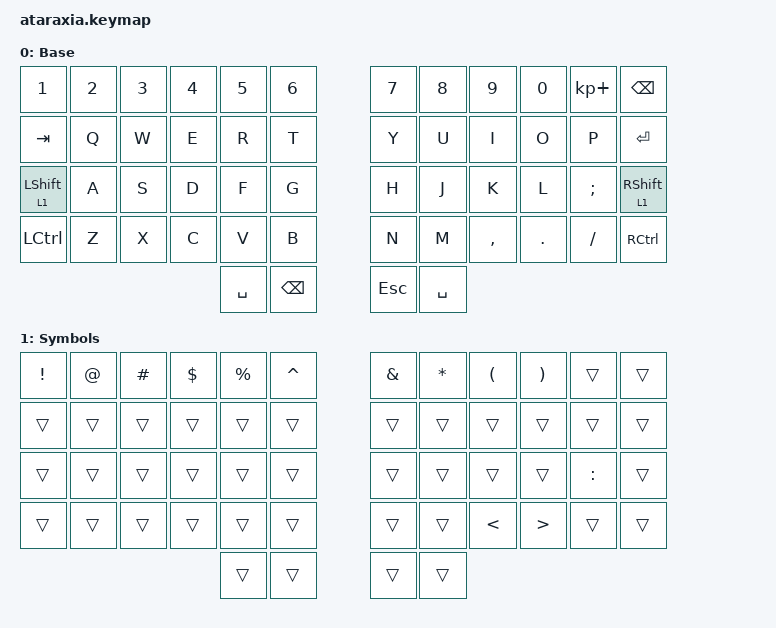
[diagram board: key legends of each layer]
#include <behaviors.dtsi>
#include <dt-bindings/zmk/keys.h>

/ {
    keymap {
        compatible = "zmk,keymap";

        default_layer {
            display-name = "Base";
            bindings = <
&kp N1    &kp N2 &kp N3 &kp N4 &kp N5 &kp N6        &kp N7 &kp N8 &kp N9    &kp N0  &kp KP_PLUS  &kp BSPC
&kp TAB   &kp Q  &kp W  &kp E  &kp R  &kp T         &kp Y  &kp U  &kp I     &kp O   &kp P     &kp RET
&lt 1 LSHFT &kp A  &kp S  &kp D  &kp F  &kp G       &kp H  &kp J  &kp K     &kp L   &kp SEMI  &lt 1 RSHFT
&kp LCTRL &kp Z  &kp X  &kp C  &kp V  &kp B         &kp N  &kp M  &kp COMMA &kp DOT &kp FSLH  &kp RCTRL
                               &kp SPACE &kp BSPC   &kp ESC &kp SPACE
            >;
        };

        symbols_layer {
            display-name = "Symbols";
            bindings = <
&kp EXCL  &kp AT_SIGN &kp HASH &kp DOLLAR &kp PERCENT &kp CARET    &kp AMPERSAND &kp ASTERISK &kp LPAR &kp RPAR &trans &trans
&trans    &trans      &trans   &trans     &trans      &trans       &trans        &trans      &trans  &trans  &trans &trans
&trans    &trans      &trans   &trans     &trans      &trans       &trans        &trans      &trans  &trans  &kp COLON &trans
&trans    &trans      &trans   &trans     &trans      &trans       &trans        &trans      &kp LT  &kp GT  &trans &trans
                                            &trans &trans          &trans &trans
            >;
        };
    };
};
